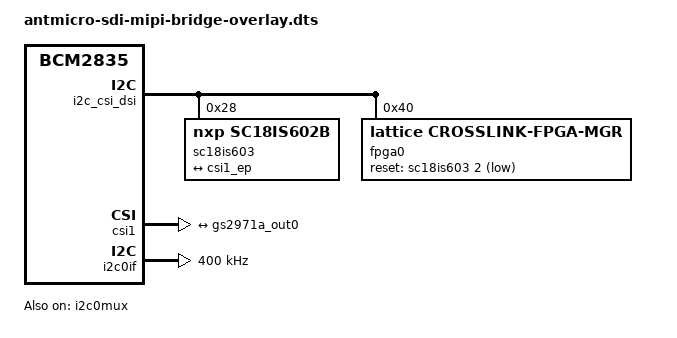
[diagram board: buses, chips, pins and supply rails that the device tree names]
// SPDX-License-Identifier: GPL-2.0-only
// Definitions for Antmicro SDI to MIPI bridge on VC I2C bus
/dts-v1/;
/plugin/;

#include <dt-bindings/gpio/gpio.h>

/{
	compatible = "brcm,bcm2835";

	i2c_frag: fragment@0 {
		target = <&i2c_csi_dsi>;
		__overlay__ {
			#address-cells = <1>;
			#size-cells = <0>;
			status = "okay";

			sc18is603: spi@28 {
				compatible = "nxp,sc18is602b";
				reg = <0x28>;

				#address-cells = <1>;
				#size-cells = <0>;

				nxp,spi-cs-as-gpios = <0 0 1 0>;
				gpio-controller;
				#gpio-cells = <2>;

				gs2971a@0 {
					status = "okay";
					devnode = "video0";
					compatible = "semtech,gs2971a";
					reg = <0x0>;
					spi-max-frequency = <20000000>;

					port {
						gs2971a_out0: endpoint {
							remote-endpoint = <&csi1_ep>;
							data-lanes = <1 2 3 4>;
						};
					};
				};
			};
			fpga0: lattice-crosslink@40 {
				compatible = "lattice,crosslink-fpga-mgr";
				reg = <0x40>;
				reset-gpios = <&sc18is603 2 GPIO_ACTIVE_LOW>;
			};
		};
	};

	csi_frag: fragment@1 {
		target = <&csi1>;
		csi: __overlay__ {
			status = "okay";

			port {
				csi1_ep: endpoint {
					remote-endpoint = <&gs2971a_out0>;
					data-lanes = <1 2 3 4>;
				};
			};
		};
	};

	fragment@2 {
		target = <&i2c0if>;
		__overlay__ {
			status = "okay";
			clock-frequency = <400000>;
		};
	};

	fragment@3 {
		target = <&i2c0mux>;
		__overlay__ {
			status = "okay";
		};
	};

	reg_frag: fragment@4 {
		target = <&cam1_reg>;
		__overlay__ {
			startup-delay-us = <20000>;
		};
	};

	clk_frag: fragment@5 {
		target = <&cam1_clk>;
		__overlay__ {
			status = "okay";
			clock-frequency = <25000000>;
		};
	};
};
